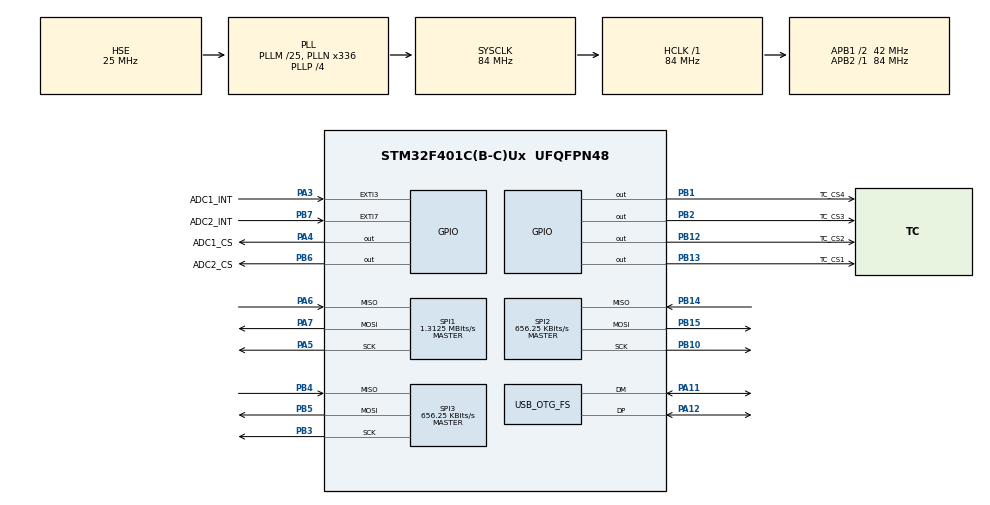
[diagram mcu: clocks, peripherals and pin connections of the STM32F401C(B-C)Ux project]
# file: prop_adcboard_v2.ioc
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Dma.Request0=SPI3_RX
Dma.Request1=SPI3_TX
Dma.Request2=SPI1_RX
Dma.Request3=SPI1_TX
Dma.SPI1_RX.2.Direction=DMA_PERIPH_TO_MEMORY
Dma.SPI1_RX.2.FIFOMode=DMA_FIFOMODE_DISABLE
Dma.SPI1_RX.2.Instance=DMA2_Stream0
Dma.SPI1_RX.2.MemDataAlignment=DMA_MDATAALIGN_BYTE
Dma.SPI1_RX.2.MemInc=DMA_MINC_ENABLE
Dma.SPI1_RX.2.Mode=DMA_NORMAL
Dma.SPI1_RX.2.PeriphDataAlignment=DMA_PDATAALIGN_BYTE
Dma.SPI1_RX.2.PeriphInc=DMA_PINC_DISABLE
Dma.SPI1_RX.2.Priority=DMA_PRIORITY_LOW
Dma.SPI1_TX.3.Direction=DMA_MEMORY_TO_PERIPH
Dma.SPI1_TX.3.FIFOMode=DMA_FIFOMODE_DISABLE
Dma.SPI1_TX.3.Instance=DMA2_Stream3
Dma.SPI1_TX.3.MemDataAlignment=DMA_MDATAALIGN_BYTE
Dma.SPI1_TX.3.MemInc=DMA_MINC_ENABLE
Dma.SPI1_TX.3.Mode=DMA_NORMAL
Dma.SPI1_TX.3.PeriphDataAlignment=DMA_PDATAALIGN_BYTE
Dma.SPI1_TX.3.PeriphInc=DMA_PINC_DISABLE
Dma.SPI1_TX.3.Priority=DMA_PRIORITY_LOW
Dma.SPI3_RX.0.Direction=DMA_PERIPH_TO_MEMORY
Dma.SPI3_RX.0.FIFOMode=DMA_FIFOMODE_DISABLE
Dma.SPI3_RX.0.Instance=DMA1_Stream0
Dma.SPI3_RX.0.MemDataAlignment=DMA_MDATAALIGN_BYTE
Dma.SPI3_RX.0.MemInc=DMA_MINC_ENABLE
Dma.SPI3_RX.0.Mode=DMA_NORMAL
Dma.SPI3_RX.0.PeriphDataAlignment=DMA_PDATAALIGN_BYTE
Dma.SPI3_RX.0.PeriphInc=DMA_PINC_DISABLE
Dma.SPI3_RX.0.Priority=DMA_PRIORITY_LOW
Dma.SPI3_TX.1.Direction=DMA_MEMORY_TO_PERIPH
Dma.SPI3_TX.1.FIFOMode=DMA_FIFOMODE_DISABLE
Dma.SPI3_TX.1.Instance=DMA1_Stream5
Dma.SPI3_TX.1.MemDataAlignment=DMA_MDATAALIGN_BYTE
Dma.SPI3_TX.1.MemInc=DMA_MINC_ENABLE
Dma.SPI3_TX.1.Mode=DMA_NORMAL
Dma.SPI3_TX.1.PeriphDataAlignment=DMA_PDATAALIGN_BYTE
Dma.SPI3_TX.1.PeriphInc=DMA_PINC_DISABLE
Dma.SPI3_TX.1.Priority=DMA_PRIORITY_LOW
Mcu.Family=STM32F4
Mcu.Name=STM32F401C(B-C)Ux
Mcu.Package=UFQFPN48
NVIC.DMA1_Stream0_IRQn=true\:0\:0\:false\:false\:true\:false\:true\:true
NVIC.DMA1_Stream5_IRQn=true\:0\:0\:false\:false\:true\:false\:true\:true
NVIC.DMA2_Stream0_IRQn=true\:0\:0\:false\:false\:true\:false\:true\:true
NVIC.DMA2_Stream3_IRQn=true\:0\:0\:false\:false\:true\:false\:true\:true
NVIC.EXTI3_IRQn=true\:0\:0\:false\:false\:true\:true\:true\:true
NVIC.EXTI9_5_IRQn=true\:0\:0\:false\:false\:true\:true\:true\:true
NVIC.OTG_FS_IRQn=true\:0\:0\:false\:false\:true\:false\:true\:true
NVIC.PriorityGroup=NVIC_PRIORITYGROUP_4
NVIC.SPI3_IRQn=true\:0\:0\:false\:false\:true\:true\:true\:true
PA11.Mode=Device_Only
PA11.Signal=USB_OTG_FS_DM
PA12.Mode=Device_Only
PA12.Signal=USB_OTG_FS_DP
PA13.Mode=Serial_Wire
PA13.Signal=SYS_JTMS-SWDIO
PA14.Mode=Serial_Wire
PA14.Signal=SYS_JTCK-SWCLK
PA3.GPIO_Label=ADC1_INT
PA3.GPIO_ModeDefaultEXTI=GPIO_MODE_IT_FALLING
PA3.GPIO_PuPd=GPIO_PULLUP
PA3.Signal=GPXTI3
PA4.GPIO_Label=ADC1_CS
PA4.Signal=GPIO_Output
PA5.Mode=Full_Duplex_Master
PA5.Signal=SPI1_SCK
PA6.Mode=Full_Duplex_Master
PA6.Signal=SPI1_MISO
PA7.Mode=Full_Duplex_Master
PA7.Signal=SPI1_MOSI
PB1.GPIO_Label=TC_CS4
PB1.GPIO_Speed=GPIO_SPEED_FREQ_VERY_HIGH
PB1.PinState=GPIO_PIN_SET
PB1.Signal=GPIO_Output
PB10.Mode=Full_Duplex_Master
PB10.Signal=SPI2_SCK
PB12.GPIO_Label=TC_CS2
PB12.Signal=GPIO_Output
PB13.GPIO_Label=TC_CS1
PB13.Signal=GPIO_Output
PB14.Mode=Full_Duplex_Master
PB14.Signal=SPI2_MISO
PB15.Mode=Full_Duplex_Master
PB15.Signal=SPI2_MOSI
PB2.GPIO_Label=TC_CS3
PB2.GPIO_Speed=GPIO_SPEED_FREQ_VERY_HIGH
PB2.PinState=GPIO_PIN_SET
PB2.Signal=GPIO_Output
PB3.GPIO_PuPd=GPIO_NOPULL
PB3.Mode=Full_Duplex_Master
PB3.Signal=SPI3_SCK
PB4.GPIO_PuPd=GPIO_PULLUP
PB4.Mode=Full_Duplex_Master
PB4.Signal=SPI3_MISO
PB5.Mode=Full_Duplex_Master
PB5.Signal=SPI3_MOSI
PB6.GPIO_Label=ADC2_CS
PB6.Signal=GPIO_Output
PB7.GPIO_Label=ADC2_INT
PB7.GPIO_ModeDefaultEXTI=GPIO_MODE_IT_FALLING
PB7.GPIO_PuPd=GPIO_PULLUP
PB7.Signal=GPXTI7
PC14-OSC32_IN.Mode=LSE-External-Oscillator
PC14-OSC32_IN.Signal=RCC_OSC32_IN
PC15-OSC32_OUT.Mode=LSE-External-Oscillator
PC15-OSC32_OUT.Signal=RCC_OSC32_OUT
PH0\ -\ OSC_IN.Mode=HSE-External-Oscillator
PH0\ -\ OSC_IN.Signal=RCC_OSC_IN
PH1\ -\ OSC_OUT.Mode=HSE-External-Oscillator
PH1\ -\ OSC_OUT.Signal=RCC_OSC_OUT
ProjectManager.HeapSize=0x200
ProjectManager.StackSize=0x400
ProjectManager.TargetToolchain=STM32CubeIDE
RCC.48MHZClocksFreq_Value=48000000
RCC.AHBFreq_Value=84000000
RCC.APB1CLKDivider=RCC_HCLK_DIV2
RCC.APB1Freq_Value=42000000
RCC.APB1TimFreq_Value=84000000
RCC.APB2Freq_Value=84000000
RCC.APB2TimFreq_Value=84000000
RCC.CortexFreq_Value=84000000
RCC.HCLKFreq_Value=84000000
RCC.HSE_VALUE=25000000
RCC.HSI_VALUE=16000000
RCC.PLLM=25
RCC.PLLN=336
RCC.PLLP=RCC_PLLP_DIV4
RCC.PLLQ=7
RCC.SYSCLKFreq_VALUE=84000000
RCC.SYSCLKSource=RCC_SYSCLKSOURCE_PLLCLK
RCC.VCOOutputFreq_Value=336000000
SPI1.BaudRatePrescaler=SPI_BAUDRATEPRESCALER_64
SPI1.CalculateBaudRate=1.3125 MBits/s
SPI1.Direction=SPI_DIRECTION_2LINES
SPI1.Mode=SPI_MODE_MASTER
SPI1.VirtualType=VM_MASTER
SPI2.BaudRatePrescaler=SPI_BAUDRATEPRESCALER_64
SPI2.CalculateBaudRate=656.25 KBits/s
SPI2.Direction=SPI_DIRECTION_2LINES
SPI2.Mode=SPI_MODE_MASTER
SPI2.VirtualType=VM_MASTER
SPI3.BaudRatePrescaler=SPI_BAUDRATEPRESCALER_64
SPI3.CLKPolarity=SPI_POLARITY_LOW
SPI3.CalculateBaudRate=656.25 KBits/s
SPI3.Direction=SPI_DIRECTION_2LINES
SPI3.Mode=SPI_MODE_MASTER
SPI3.VirtualType=VM_MASTER
USB_DEVICE.CLASS_NAME_FS=CDC
USB_DEVICE.VirtualMode=Cdc
USB_DEVICE.VirtualModeFS=Cdc_FS
USB_OTG_FS.VirtualMode=Device_Only
VP_IWDG_VS_IWDG.Mode=IWDG_Activate
VP_USB_DEVICE_VS_USB_DEVICE_CDC_FS.Mode=CDC_FS
board=custom

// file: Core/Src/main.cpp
/* USER CODE BEGIN Header */
/**
 ******************************************************************************
 * @file           : main.cpp
 * @brief          : Main program body
 ******************************************************************************
 * @attention
 *
 * Copyright (c) 2022 STMicroelectronics.
 * All rights reserved.
 *
 * This software is licensed under terms that can be found in the LICENSE file
 * in the root directory of this software component.
 * If no LICENSE file comes with this software, it is provided AS-IS.
 *
 ******************************************************************************
 */
/* USER CODE END Header */
#include "main.h"

#include <string.h>

#include "usb_device.h"

/* USER CODE BEGIN Includes */

#include "adc_mcp3564.h"
#include "board_config.h"
#include "crc16.h"
#include "errno.h"
#include "math.h"
#include "temp_max31855.h"
#include "usbd_cdc_if.h"
/* USER CODE END Includes */

/* USER CODE BEGIN PD */
#define USB_DELAY_MS 0
/* USER CODE END PD */

SPI_HandleTypeDef hspi1;
SPI_HandleTypeDef hspi2;
SPI_HandleTypeDef hspi3;
DMA_HandleTypeDef hdma_spi1_rx;
DMA_HandleTypeDef hdma_spi1_tx;
DMA_HandleTypeDef hdma_spi3_rx;
DMA_HandleTypeDef hdma_spi3_tx;

/* USER CODE BEGIN PV */
IWDG_HandleTypeDef hiwdg;
/* USER CODE END PV */

void SystemClock_Config(void);
static void MX_GPIO_Init(void);
static void MX_DMA_Init(void);
static void MX_SPI1_Init(void);
static void MX_SPI2_Init(void);
static void MX_SPI3_Init(void);
/* USER CODE BEGIN PFP */

static void MX_IWDG_Init(void);
/* USER CODE END PFP */

int main(void) {

  /* MCU Configuration--------------------------------------------------------*/

  /* Reset of all peripherals, Initializes the Flash interface and the Systick.
   */
  HAL_Init();

  /* Configure the system clock */
  SystemClock_Config();

  /* Initialize all configured peripherals */
  MX_GPIO_Init();
  MX_DMA_Init();
  MX_SPI1_Init();
  MX_USB_DEVICE_Init();
  MX_SPI2_Init();
  MX_SPI3_Init();
  MX_IWDG_Init();
  /* USER CODE BEGIN 2 */
  TempMax31855Ctrl_s tc_readers[NUM_TC_READER] = {0};

  tempMax31855_init(&tc_readers[0], &hspi2, TC_CS1_GPIO_Port, TC_CS1_Pin);
  tempMax31855_init(&tc_readers[1], &hspi2, TC_CS2_GPIO_Port, TC_CS2_Pin);
  tempMax31855_init(&tc_readers[2], &hspi2, TC_CS3_GPIO_Port, TC_CS3_Pin);
  tempMax31855_init(&tc_readers[3], &hspi2, TC_CS4_GPIO_Port, TC_CS4_Pin);
  typedef struct __attribute__((__packed__)) {
    uint32_t timestamp;
    int32_t ducerRaw[15];
    int32_t loadCellRaw;
    float tcInternalTemp;
    float tcTemp[4];
    uint8_t tcFaultFlags[4];
    uint16_t crc;
  } AdcData_s;
  AdcData_s adcData = {0};
  CRC16 crc;

  // SPI3 = ADC2
  // ADC2 has physical channels IN0 through IN7 on pins AIN0 through AIN7

  // SPI1 = ADC1
  // ADC1 has physical channels IN8 through IN15 on pins AIN0 through AIN7

  AdcMcp3564Ctrl_s adc2;
  mcp3564_init(&adc2, &hspi3, ADC2_CS_GPIO_Port, ADC2_CS_Pin,
               ADC2_INT_GPIO_Port, ADC2_INT_Pin);
  AdcMcp3564Ctrl_s adc1;
  mcp3564_init(&adc1, &hspi1, ADC1_CS_GPIO_Port, ADC1_CS_Pin,
               ADC1_INT_GPIO_Port, ADC1_INT_Pin);

  /* USER CODE END 2 */

  /* Infinite loop */
  /* USER CODE BEGIN WHILE */

  uint32_t prev_transmit = HAL_GetTick();
  while (1) {
    /* USER CODE END WHILE */

    /* USER CODE BEGIN 3 */

    for (int i = 0; i < 4; i++) {
      TempMax31855Ctrl_s *it = tc_readers + i;
      tempMax31855_read(it);
    }

    while (HAL_GetTick() - prev_transmit < USB_DELAY_MS) {
    }
    prev_transmit = HAL_GetTick();
    adcData.timestamp = HAL_GetTick();
    // Copy adc1 ducer results
    memcpy(adcData.ducerRaw + ADC1_FIRST_DUCER_ID,
           adc1.result, sizeof(int32_t) * ADC1_NUM_DUCER);
    // Copy adc2 ducer results
    memcpy(adcData.ducerRaw + ADC2_FIRST_DUCER_ID,
           adc2.result, sizeof(int32_t) * ADC2_NUM_DUCER);
    adcData.loadCellRaw = adc1.result[7];
    for (int i = 0; i < NUM_TC_READER; ++i) {
      adcData.tcTemp[i] = tc_readers[i].data.thermocoupleTemp;
      adcData.tcFaultFlags[i] = tc_readers[i].data.faultFlags;
    }
    adcData.tcInternalTemp = tc_readers[0].data.internalTemp;
    crc.reset();
    crc.add((uint8_t *)&adcData, sizeof(adcData) - sizeof(uint16_t));
    adcData.crc = crc.getCRC();
    CDC_Transmit_FS((uint8_t *)&adcData, sizeof(adcData));
    HAL_IWDG_Refresh(&hiwdg);
  }
  /* USER CODE END 3 */
}

void SystemClock_Config(void) {
  RCC_OscInitTypeDef RCC_OscInitStruct = {0};
  RCC_ClkInitTypeDef RCC_ClkInitStruct = {0};

  /** Configure the main internal regulator output voltage
   */
  __HAL_RCC_PWR_CLK_ENABLE();
  __HAL_PWR_VOLTAGESCALING_CONFIG(PWR_REGULATOR_VOLTAGE_SCALE2);

  /** Initializes the RCC Oscillators according to the specified parameters
   * in the RCC_OscInitTypeDef structure.
   */
  RCC_OscInitStruct.OscillatorType = RCC_OSCILLATORTYPE_HSE;
  RCC_OscInitStruct.HSEState = RCC_HSE_ON;
  RCC_OscInitStruct.PLL.PLLState = RCC_PLL_ON;
  RCC_OscInitStruct.PLL.PLLSource = RCC_PLLSOURCE_HSE;
  RCC_OscInitStruct.PLL.PLLM = 25;
  RCC_OscInitStruct.PLL.PLLN = 336;
  RCC_OscInitStruct.PLL.PLLP = RCC_PLLP_DIV4;
  RCC_OscInitStruct.PLL.PLLQ = 7;
  if (HAL_RCC_OscConfig(&RCC_OscInitStruct) != HAL_OK) {
    Error_Handler();
  }

  /** Initializes the CPU, AHB and APB buses clocks
   */
  RCC_ClkInitStruct.ClockType = RCC_CLOCKTYPE_HCLK | RCC_CLOCKTYPE_SYSCLK |
                                RCC_CLOCKTYPE_PCLK1 | RCC_CLOCKTYPE_PCLK2;
  RCC_ClkInitStruct.SYSCLKSource = RCC_SYSCLKSOURCE_PLLCLK;
  RCC_ClkInitStruct.AHBCLKDivider = RCC_SYSCLK_DIV1;
  RCC_ClkInitStruct.APB1CLKDivider = RCC_HCLK_DIV2;
  RCC_ClkInitStruct.APB2CLKDivider = RCC_HCLK_DIV1;

  if (HAL_RCC_ClockConfig(&RCC_ClkInitStruct, FLASH_LATENCY_2) != HAL_OK) {
    Error_Handler();
  }
}

static void MX_SPI1_Init(void) {

  /* SPI1 parameter configuration*/
  hspi1.Instance = SPI1;
  hspi1.Init.Mode = SPI_MODE_MASTER;
  hspi1.Init.Direction = SPI_DIRECTION_2LINES;
  hspi1.Init.DataSize = SPI_DATASIZE_8BIT;
  hspi1.Init.CLKPolarity = SPI_POLARITY_LOW;
  hspi1.Init.CLKPhase = SPI_PHASE_1EDGE;
  hspi1.Init.NSS = SPI_NSS_SOFT;
  hspi1.Init.BaudRatePrescaler = SPI_BAUDRATEPRESCALER_64;
  hspi1.Init.FirstBit = SPI_FIRSTBIT_MSB;
  hspi1.Init.TIMode = SPI_TIMODE_DISABLE;
  hspi1.Init.CRCCalculation = SPI_CRCCALCULATION_DISABLE;
  hspi1.Init.CRCPolynomial = 10;
  if (HAL_SPI_Init(&hspi1) != HAL_OK) {
    Error_Handler();
  }
}

static void MX_SPI2_Init(void) {

  /* SPI2 parameter configuration*/
  hspi2.Instance = SPI2;
  hspi2.Init.Mode = SPI_MODE_MASTER;
  hspi2.Init.Direction = SPI_DIRECTION_2LINES;
  hspi2.Init.DataSize = SPI_DATASIZE_8BIT;
  hspi2.Init.CLKPolarity = SPI_POLARITY_LOW;
  hspi2.Init.CLKPhase = SPI_PHASE_1EDGE;
  hspi2.Init.NSS = SPI_NSS_SOFT;
  hspi2.Init.BaudRatePrescaler = SPI_BAUDRATEPRESCALER_64;
  hspi2.Init.FirstBit = SPI_FIRSTBIT_MSB;
  hspi2.Init.TIMode = SPI_TIMODE_DISABLE;
  hspi2.Init.CRCCalculation = SPI_CRCCALCULATION_DISABLE;
  hspi2.Init.CRCPolynomial = 10;
  if (HAL_SPI_Init(&hspi2) != HAL_OK) {
    Error_Handler();
  }
}

static void MX_SPI3_Init(void) {

  /* SPI3 parameter configuration*/
  hspi3.Instance = SPI3;
  hspi3.Init.Mode = SPI_MODE_MASTER;
  hspi3.Init.Direction = SPI_DIRECTION_2LINES;
  hspi3.Init.DataSize = SPI_DATASIZE_8BIT;
  hspi3.Init.CLKPolarity = SPI_POLARITY_LOW;
  hspi3.Init.CLKPhase = SPI_PHASE_1EDGE;
  hspi3.Init.NSS = SPI_NSS_SOFT;
  hspi3.Init.BaudRatePrescaler = SPI_BAUDRATEPRESCALER_64;
  hspi3.Init.FirstBit = SPI_FIRSTBIT_MSB;
  hspi3.Init.TIMode = SPI_TIMODE_DISABLE;
  hspi3.Init.CRCCalculation = SPI_CRCCALCULATION_DISABLE;
  hspi3.Init.CRCPolynomial = 10;
  if (HAL_SPI_Init(&hspi3) != HAL_OK) {
    Error_Handler();
  }
}

static void MX_DMA_Init(void) {
  /* DMA controller clock enable */
  __HAL_RCC_DMA1_CLK_ENABLE();
  __HAL_RCC_DMA2_CLK_ENABLE();

  /* DMA interrupt init */
  /* DMA1_Stream0_IRQn interrupt configuration */
  HAL_NVIC_SetPriority(DMA1_Stream0_IRQn, 0, 0);
  HAL_NVIC_EnableIRQ(DMA1_Stream0_IRQn);
  /* DMA1_Stream5_IRQn interrupt configuration */
  HAL_NVIC_SetPriority(DMA1_Stream5_IRQn, 0, 0);
  HAL_NVIC_EnableIRQ(DMA1_Stream5_IRQn);
  /* DMA2_Stream0_IRQn interrupt configuration */
  HAL_NVIC_SetPriority(DMA2_Stream0_IRQn, 0, 0);
  HAL_NVIC_EnableIRQ(DMA2_Stream0_IRQn);
  /* DMA2_Stream3_IRQn interrupt configuration */
  HAL_NVIC_SetPriority(DMA2_Stream3_IRQn, 0, 0);
  HAL_NVIC_EnableIRQ(DMA2_Stream3_IRQn);
}

static void MX_GPIO_Init(void) {
  GPIO_InitTypeDef GPIO_InitStruct = {0};

  /* GPIO Ports Clock Enable */
  __HAL_RCC_GPIOC_CLK_ENABLE();
  __HAL_RCC_GPIOH_CLK_ENABLE();
  __HAL_RCC_GPIOA_CLK_ENABLE();
  __HAL_RCC_GPIOB_CLK_ENABLE();

  /*Configure GPIO pin Output Level */
  HAL_GPIO_WritePin(ADC1_CS_GPIO_Port, ADC1_CS_Pin, GPIO_PIN_RESET);

  /*Configure GPIO pin Output Level */
  HAL_GPIO_WritePin(GPIOB, TC_CS4_Pin | TC_CS3_Pin, GPIO_PIN_SET);

  /*Configure GPIO pin Output Level */
  HAL_GPIO_WritePin(GPIOB, TC_CS2_Pin | TC_CS1_Pin | ADC2_CS_Pin,
                    GPIO_PIN_RESET);

  /*Configure GPIO pin : ADC1_INT_Pin */
  GPIO_InitStruct.Pin = ADC1_INT_Pin;
  GPIO_InitStruct.Mode = GPIO_MODE_IT_FALLING;
  GPIO_InitStruct.Pull = GPIO_PULLUP;
  HAL_GPIO_Init(ADC1_INT_GPIO_Port, &GPIO_InitStruct);

  /*Configure GPIO pin : ADC1_CS_Pin */
  GPIO_InitStruct.Pin = ADC1_CS_Pin;
  GPIO_InitStruct.Mode = GPIO_MODE_OUTPUT_PP;
  GPIO_InitStruct.Pull = GPIO_NOPULL;
  GPIO_InitStruct.Speed = GPIO_SPEED_FREQ_LOW;
  HAL_GPIO_Init(ADC1_CS_GPIO_Port, &GPIO_InitStruct);

  /*Configure GPIO pins : TC_CS4_Pin TC_CS3_Pin */
  GPIO_InitStruct.Pin = TC_CS4_Pin | TC_CS3_Pin;
  GPIO_InitStruct.Mode = GPIO_MODE_OUTPUT_PP;
  GPIO_InitStruct.Pull = GPIO_NOPULL;
  GPIO_InitStruct.Speed = GPIO_SPEED_FREQ_VERY_HIGH;
  HAL_GPIO_Init(GPIOB, &GPIO_InitStruct);

  /*Configure GPIO pins : TC_CS2_Pin TC_CS1_Pin ADC2_CS_Pin */
  GPIO_InitStruct.Pin = TC_CS2_Pin | TC_CS1_Pin | ADC2_CS_Pin;
  GPIO_InitStruct.Mode = GPIO_MODE_OUTPUT_PP;
  GPIO_InitStruct.Pull = GPIO_NOPULL;
  GPIO_InitStruct.Speed = GPIO_SPEED_FREQ_LOW;
  HAL_GPIO_Init(GPIOB, &GPIO_InitStruct);

  /*Configure GPIO pin : ADC2_INT_Pin */
  GPIO_InitStruct.Pin = ADC2_INT_Pin;
  GPIO_InitStruct.Mode = GPIO_MODE_IT_FALLING;
  GPIO_InitStruct.Pull = GPIO_PULLUP;
  HAL_GPIO_Init(ADC2_INT_GPIO_Port, &GPIO_InitStruct);

  /* EXTI interrupt init*/
  HAL_NVIC_SetPriority(EXTI3_IRQn, 0, 0);
  HAL_NVIC_EnableIRQ(EXTI3_IRQn);

  HAL_NVIC_SetPriority(EXTI9_5_IRQn, 0, 0);
  HAL_NVIC_EnableIRQ(EXTI9_5_IRQn);
}

/* USER CODE BEGIN 4 */
static void MX_IWDG_Init(void)
{

  /* USER CODE BEGIN IWDG_Init 0 */

  /* USER CODE END IWDG_Init 0 */

  /* USER CODE BEGIN IWDG_Init 1 */

  /* USER CODE END IWDG_Init 1 */
  hiwdg.Instance = IWDG;
  hiwdg.Init.Prescaler = IWDG_PRESCALER_4;
  hiwdg.Init.Reload = 4095;
  if (HAL_IWDG_Init(&hiwdg) != HAL_OK)
  {
    Error_Handler();
  }
  /* USER CODE BEGIN IWDG_Init 2 */

  /* USER CODE END IWDG_Init 2 */

}
/* USER CODE END 4 */

void Error_Handler(void) {
  __disable_irq();
  while (1) {
  }
}

#ifdef USE_FULL_ASSERT
/**
 * @brief  Reports the name of the source file and the source line number
 *         where the assert_param error has occurred.
 * @param  file: pointer to the source file name
 * @param  line: assert_param error line source number
 * @retval None
 */
void assert_failed(uint8_t *file, uint32_t line) {
  /* USER CODE BEGIN 6 */
  /* User can add his own implementation to report the file name and line
     number, ex: printf("Wrong parameters value: file %s on line %d\r\n", file,
     line) */
  /* USER CODE END 6 */
}
#endif /* USE_FULL_ASSERT */
